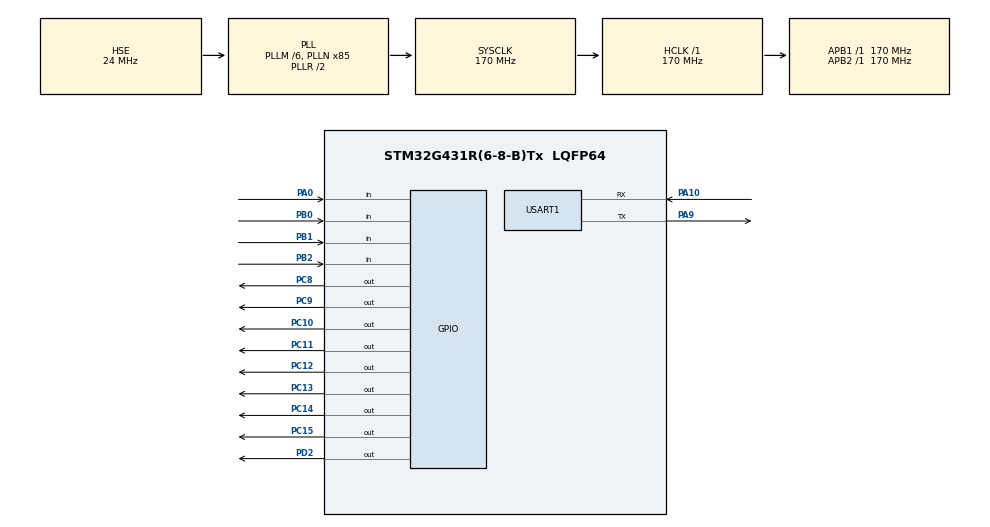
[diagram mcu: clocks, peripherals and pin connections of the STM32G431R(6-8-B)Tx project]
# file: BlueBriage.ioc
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Mcu.Family=STM32G4
Mcu.Name=STM32G431R(6-8-B)Tx
Mcu.Package=LQFP64
NVIC.PriorityGroup=NVIC_PRIORITYGROUP_4
NVIC.TIM2_IRQn=true\:0\:0\:false\:false\:true\:true\:true\:true
NVIC.USART1_IRQn=true\:0\:0\:false\:false\:true\:true\:true\:true
PA0.Signal=GPIO_Input
PA10.Mode=Asynchronous
PA10.Signal=USART1_RX
PA13.Mode=Serial_Wire
PA13.Signal=SYS_JTMS-SWDIO
PA14.Mode=Serial_Wire
PA14.Signal=SYS_JTCK-SWCLK
PA9.Mode=Asynchronous
PA9.Signal=USART1_TX
PB0.Signal=GPIO_Input
PB1.Signal=GPIO_Input
PB2.Signal=GPIO_Input
PC10.PinState=GPIO_PIN_SET
PC10.Signal=GPIO_Output
PC11.PinState=GPIO_PIN_SET
PC11.Signal=GPIO_Output
PC12.PinState=GPIO_PIN_SET
PC12.Signal=GPIO_Output
PC13.PinState=GPIO_PIN_SET
PC13.Signal=GPIO_Output
PC14-OSC32_IN.PinState=GPIO_PIN_SET
PC14-OSC32_IN.Signal=GPIO_Output
PC15-OSC32_OUT.PinState=GPIO_PIN_SET
PC15-OSC32_OUT.Signal=GPIO_Output
PC8.PinState=GPIO_PIN_SET
PC8.Signal=GPIO_Output
PC9.PinState=GPIO_PIN_SET
PC9.Signal=GPIO_Output
PD2.Signal=GPIO_Output
PF0-OSC_IN.Mode=HSE-External-Oscillator
PF0-OSC_IN.Signal=RCC_OSC_IN
PF1-OSC_OUT.Mode=HSE-External-Oscillator
PF1-OSC_OUT.Signal=RCC_OSC_OUT
ProjectManager.HeapSize=0x200
ProjectManager.StackSize=0x400
ProjectManager.TargetToolchain=STM32CubeIDE
RCC.ADC12Freq_Value=170000000
RCC.AHBFreq_Value=170000000
RCC.APB1Freq_Value=170000000
RCC.APB1TimFreq_Value=170000000
RCC.APB2Freq_Value=170000000
RCC.APB2TimFreq_Value=170000000
RCC.CortexFreq_Value=170000000
RCC.EXTERNAL_CLOCK_VALUE=12288000
RCC.HCLKFreq_Value=170000000
RCC.HSE_VALUE=24000000
RCC.HSI48_VALUE=48000000
RCC.HSI_VALUE=16000000
RCC.LSE_VALUE=32768
RCC.PLLM=RCC_PLLM_DIV6
RCC.PLLN=85
RCC.PLLSourceVirtual=RCC_PLLSOURCE_HSE
RCC.SYSCLKFreq_VALUE=170000000
RCC.SYSCLKSource=RCC_SYSCLKSOURCE_PLLCLK
RCC.USBFreq_Value=170000000
RCC.VCOOutputFreq_Value=340000000
TIM2.AutoReloadPreload=TIM_AUTORELOAD_PRELOAD_ENABLE
TIM2.PeriodNoDither=1000-1
TIM2.Prescaler=170-1
USART1.VirtualMode-Asynchronous=VM_ASYNC
VP_SYS_VS_DBSignals.Mode=DisableDeadBatterySignals
VP_TIM2_VS_ClockSourceINT.Mode=Internal
board=custom

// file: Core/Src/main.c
/* USER CODE BEGIN Header */
/**
  ******************************************************************************
  * @file           : main.c
  * @brief          : Main program body
  ******************************************************************************
  * @attention
  *
  * Copyright (c) 2023 STMicroelectronics.
  * All rights reserved.
  *
  * This software is licensed under terms that can be found in the LICENSE file
  * in the root directory of this software component.
  * If no LICENSE file comes with this software, it is provided AS-IS.
  *
  ******************************************************************************
  */
/* USER CODE END Header */
#include "main.h"
#include "tim.h"
#include "usart.h"
#include "gpio.h"

/* USER CODE BEGIN Includes */
#include "test.h"
#include "lcd.h"
#include "Key.h"
#include "stdio.h"
/* USER CODE END Includes */

void SystemClock_Config(void);
/* USER CODE BEGIN PFP */
extern void test();
/* USER CODE END PFP */

int main(void)
{

  /* MCU Configuration--------------------------------------------------------*/

  /* Reset of all peripherals, Initializes the Flash interface and the Systick. */
  HAL_Init();

  /* Configure the system clock */
  SystemClock_Config();

  /* Initialize all configured peripherals */
  MX_GPIO_Init();
  MX_TIM2_Init();
  MX_USART1_UART_Init();
  /* USER CODE BEGIN 2 */
    LCD_Init();
    LCD_Clear(White);
    LCD_SetTextColor(Black);
    LCD_SetBackColor(White);
    led_off();
  /* USER CODE END 2 */

  /* Infinite loop */
  /* USER CODE BEGIN WHILE */
  char buff[50];
  int numCount=0;
    HAL_TIM_Base_Start_IT(&htim2);
  while (1)
  {
      keyScan();
      if(KeyType.key2==ShortPress)
      {
          led(1);
          numCount++;
      }
      if(KeyType.key2==LongPress)
      {
          led_off();
          numCount++;
      }
      if(KeyType.key3==ShortPress)
      {
          numCount--;
          led(4);
      }
      if(KeyType.key3==LongPress)
      {
          numCount--;
          led_off();
      }
      sprintf(buff,"Num:%d ",numCount);
      LCD_DisplayStringLine(Line2,buff);

//      test();
    /* USER CODE END WHILE */

  }
}

void SystemClock_Config(void)
{
  RCC_OscInitTypeDef RCC_OscInitStruct = {0};
  RCC_ClkInitTypeDef RCC_ClkInitStruct = {0};

  /** Configure the main internal regulator output voltage
  */
  HAL_PWREx_ControlVoltageScaling(PWR_REGULATOR_VOLTAGE_SCALE1_BOOST);

  /** Initializes the RCC Oscillators according to the specified parameters
  * in the RCC_OscInitTypeDef structure.
  */
  RCC_OscInitStruct.OscillatorType = RCC_OSCILLATORTYPE_HSE;
  RCC_OscInitStruct.HSEState = RCC_HSE_ON;
  RCC_OscInitStruct.PLL.PLLState = RCC_PLL_ON;
  RCC_OscInitStruct.PLL.PLLSource = RCC_PLLSOURCE_HSE;
  RCC_OscInitStruct.PLL.PLLM = RCC_PLLM_DIV6;
  RCC_OscInitStruct.PLL.PLLN = 85;
  RCC_OscInitStruct.PLL.PLLP = RCC_PLLP_DIV2;
  RCC_OscInitStruct.PLL.PLLQ = RCC_PLLQ_DIV2;
  RCC_OscInitStruct.PLL.PLLR = RCC_PLLR_DIV2;
  if (HAL_RCC_OscConfig(&RCC_OscInitStruct) != HAL_OK)
  {
    Error_Handler();
  }

  /** Initializes the CPU, AHB and APB buses clocks
  */
  RCC_ClkInitStruct.ClockType = RCC_CLOCKTYPE_HCLK|RCC_CLOCKTYPE_SYSCLK
                              |RCC_CLOCKTYPE_PCLK1|RCC_CLOCKTYPE_PCLK2;
  RCC_ClkInitStruct.SYSCLKSource = RCC_SYSCLKSOURCE_PLLCLK;
  RCC_ClkInitStruct.AHBCLKDivider = RCC_SYSCLK_DIV1;
  RCC_ClkInitStruct.APB1CLKDivider = RCC_HCLK_DIV1;
  RCC_ClkInitStruct.APB2CLKDivider = RCC_HCLK_DIV1;

  if (HAL_RCC_ClockConfig(&RCC_ClkInitStruct, FLASH_LATENCY_4) != HAL_OK)
  {
    Error_Handler();
  }
}

void Error_Handler(void)
{
  __disable_irq();
  while (1)
  {
  }
}
